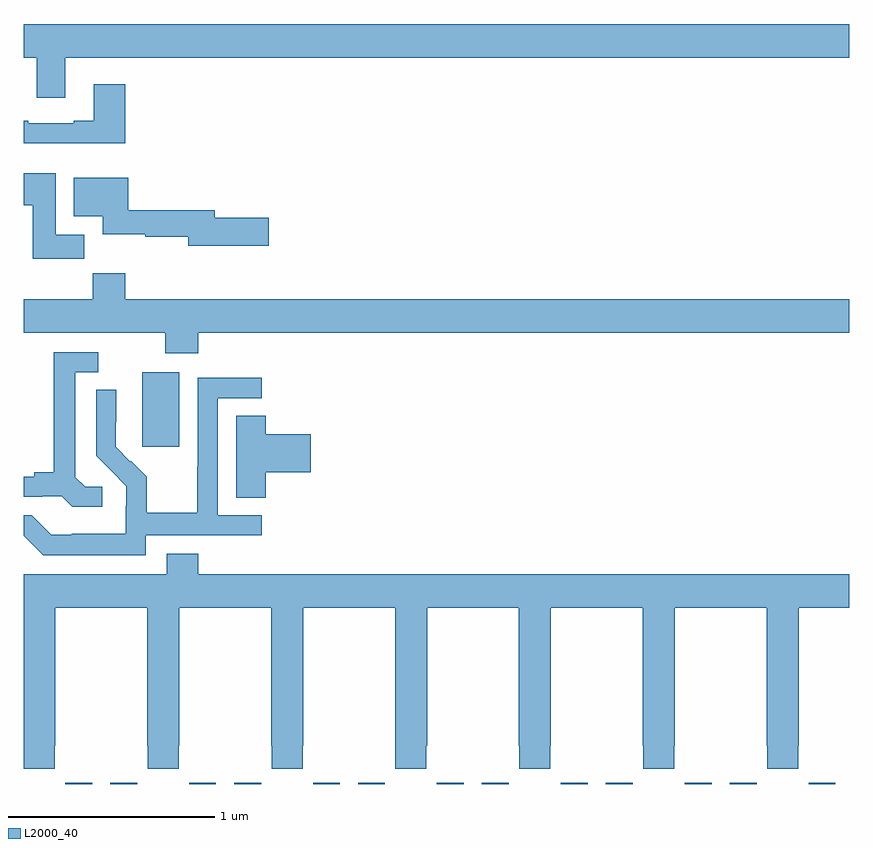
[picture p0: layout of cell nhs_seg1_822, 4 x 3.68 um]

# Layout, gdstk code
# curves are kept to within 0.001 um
import gdstk
lib = gdstk.Library(unit=1e-6, precision=1e-09)
def R(c, l, rs):  # rectangles x0, y0, x1, y1
    for r in rs: c.add(gdstk.rectangle(r[:2], r[2:], *l))
def P(c, l, *ps):  # polygons
    for p in ps: c.add(gdstk.Polygon(p, *l))
L2000_40 = (2000, 40)

nhs_seg1_822 = lib.new_cell('nhs_seg1_822')
R(nhs_seg1_822, L2000_40, [(155.202,564.199,155.332,564.205), (155.42,564.199,155.55,564.205), (155.802,564.199,155.932,564.205), (156.02,564.199,156.15,564.205), (156.402,564.199,156.532,564.205), (156.62,564.199,156.75,564.205), (157.002,564.199,157.132,564.205), (157.22,564.199,157.35,564.205), (157.602,564.199,157.732,564.205), (157.82,564.199,157.95,564.205), (158.202,564.199,158.332,564.205), (158.42,564.199,158.55,564.205), (158.802,564.199,158.932,564.205), (155.576,565.833,155.755,566.194)])
P(nhs_seg1_822, L2000_40, [(155.203,567.716),(159,567.716),(159,567.88),(155,567.88),(155,567.716),(155.063,567.716),(155.063,567.522),(155.203,567.522)],
  [(155.492,567.589),(155.339,567.589),(155.339,567.412),(155.243,567.412),(155.243,567.399),(155.023,567.399),(155.023,567.412),(155,567.412),(155,567.302),(155.492,567.302)],
  [(155.294,566.86),(155.155,566.86),(155.155,567.157),(155,567.157),(155,567.001),(155.045,567.001),(155.045,566.742),(155.294,566.742)],
  [(156.187,566.942),(155.926,566.942),(155.926,566.978),(155.507,566.978),(155.507,567.136),(155.243,567.136),(155.243,566.948),(155.384,566.948),(155.384,566.861),(155.59,566.861),(155.59,566.85),(155.798,566.85),(155.798,566.807),(156.187,566.807)],
  [(155.846,566.384),(159,566.384),(159,566.548),(155.492,566.548),(155.492,566.672),(155.335,566.672),(155.335,566.548),(155,566.548),(155,566.384),(155.686,566.384),(155.686,566.285),(155.846,566.285)],
  [(155.38,565.638),(155.298,565.638),(155.251,565.685),(155.251,566.193),(155.362,566.193),(155.362,566.289),(155.147,566.289),(155.147,565.709),(155.051,565.709),(155.051,565.686),(155,565.686),(155,565.59),(155.09,565.59),(155.09,565.593),(155.184,565.593),(155.236,565.541),(155.38,565.541)],
  [(155.592,565.404),(156.154,565.404),(156.154,565.5),(155.94,565.5),(155.94,566.067),(156.154,566.067),(156.154,566.166),(155.844,566.166),(155.844,565.736),(155.842,565.736),(155.842,565.513),(155.597,565.513),(155.597,565.687),(155.52,565.764),(155.517,565.761),(155.447,565.832),(155.448,566.108),(155.352,566.108),(155.352,565.79),(155.498,565.642),(155.498,565.545),(155.496,565.545),(155.496,565.411),(155.233,565.411),(155.233,565.407),(155.133,565.407),(155.04,565.5),(155,565.5),(155,565.402),(155.095,565.307),(155.592,565.307)],
  [(156.173,565.709),(156.391,565.709),(156.391,565.892),(156.173,565.892),(156.173,565.982),(156.029,565.982),(156.029,565.585),(156.173,565.585)],
  [(155.151,564.385),(155.154,564.385),(155.154,565.052),(155.599,565.052),(155.599,564.385),(155.601,564.385),(155.601,564.273),(155.751,564.273),(155.751,564.385),(155.754,564.385),(155.754,565.052),(156.199,565.052),(156.199,564.385),(156.201,564.385),(156.201,564.273),(156.351,564.273),(156.351,564.385),(156.354,564.385),(156.354,565.052),(156.799,565.052),(156.799,564.385),(156.801,564.385),(156.801,564.273),(156.951,564.273),(156.951,564.385),(156.954,564.385),(156.954,565.052),(157.399,565.052),(157.399,564.385),(157.401,564.385),(157.401,564.273),(157.551,564.273),(157.551,564.385),(157.554,564.385),(157.554,565.052),(157.999,565.052),(157.999,564.385),(158.001,564.385),(158.001,564.273),(158.151,564.273),(158.151,564.385),(158.154,564.385),(158.154,565.052),(158.599,565.052),(158.599,564.385),(158.601,564.385),(158.601,564.273),(158.751,564.273),(158.751,564.385),(158.754,564.385),(158.754,565.052),(159,565.052),(159,565.216),(155.846,565.216),(155.846,565.315),(155.693,565.315),(155.693,565.216),(155,565.216),(155,564.385),(155.001,564.385),(155.001,564.273),(155.151,564.273)])

lib.write_gds('nhs_seg1_822.gds')
